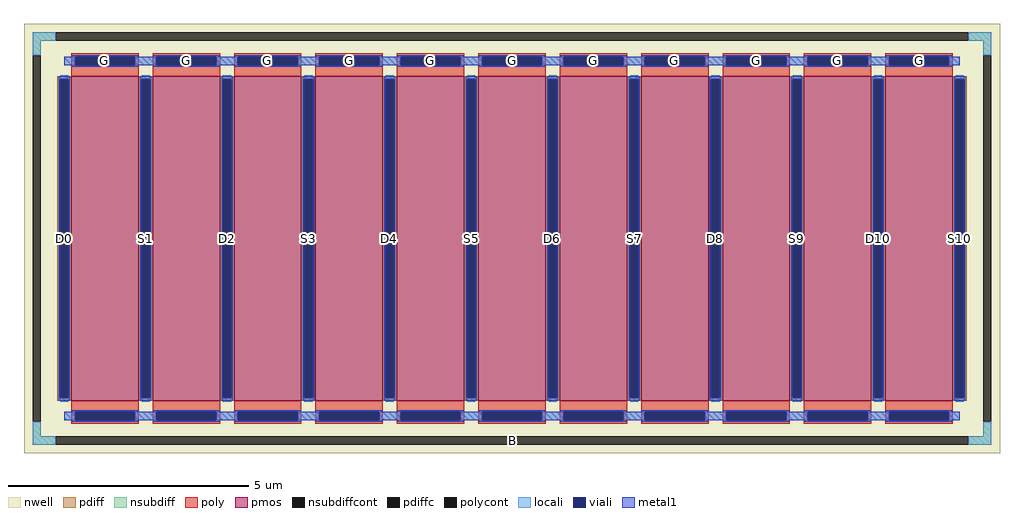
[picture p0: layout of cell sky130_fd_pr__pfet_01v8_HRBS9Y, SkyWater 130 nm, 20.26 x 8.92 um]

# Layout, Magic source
magic
tech sky130A
magscale 1 2
<< nwell >>
rect -2026 -892 2026 892
<< pmos >>
rect -1830 -673 -1550 673
rect -1492 -673 -1212 673
rect -1154 -673 -874 673
rect -816 -673 -536 673
rect -478 -673 -198 673
rect -140 -673 140 673
rect 198 -673 478 673
rect 536 -673 816 673
rect 874 -673 1154 673
rect 1212 -673 1492 673
rect 1550 -673 1830 673
<< pdiff >>
rect -1888 661 -1830 673
rect -1888 -661 -1876 661
rect -1842 -661 -1830 661
rect -1888 -673 -1830 -661
rect -1550 661 -1492 673
rect -1550 -661 -1538 661
rect -1504 -661 -1492 661
rect -1550 -673 -1492 -661
rect -1212 661 -1154 673
rect -1212 -661 -1200 661
rect -1166 -661 -1154 661
rect -1212 -673 -1154 -661
rect -874 661 -816 673
rect -874 -661 -862 661
rect -828 -661 -816 661
rect -874 -673 -816 -661
rect -536 661 -478 673
rect -536 -661 -524 661
rect -490 -661 -478 661
rect -536 -673 -478 -661
rect -198 661 -140 673
rect -198 -661 -186 661
rect -152 -661 -140 661
rect -198 -673 -140 -661
rect 140 661 198 673
rect 140 -661 152 661
rect 186 -661 198 661
rect 140 -673 198 -661
rect 478 661 536 673
rect 478 -661 490 661
rect 524 -661 536 661
rect 478 -673 536 -661
rect 816 661 874 673
rect 816 -661 828 661
rect 862 -661 874 661
rect 816 -673 874 -661
rect 1154 661 1212 673
rect 1154 -661 1166 661
rect 1200 -661 1212 661
rect 1154 -673 1212 -661
rect 1492 661 1550 673
rect 1492 -661 1504 661
rect 1538 -661 1550 661
rect 1492 -673 1550 -661
rect 1830 661 1888 673
rect 1830 -661 1842 661
rect 1876 -661 1888 661
rect 1830 -673 1888 -661
<< pdiffc >>
rect -1876 -661 -1842 661
rect -1538 -661 -1504 661
rect -1200 -661 -1166 661
rect -862 -661 -828 661
rect -524 -661 -490 661
rect -186 -661 -152 661
rect 152 -661 186 661
rect 490 -661 524 661
rect 828 -661 862 661
rect 1166 -661 1200 661
rect 1504 -661 1538 661
rect 1842 -661 1876 661
<< nsubdiff >>
rect -1990 822 -1894 856
rect 1894 822 1990 856
rect -1990 760 -1956 822
rect 1956 760 1990 822
rect -1990 -822 -1956 -760
rect 1956 -822 1990 -760
rect -1990 -856 -1894 -822
rect 1894 -856 1990 -822
<< nsubdiffcont >>
rect -1894 822 1894 856
rect -1990 -760 -1956 760
rect 1956 -760 1990 760
rect -1894 -856 1894 -822
<< poly >>
rect -1830 754 -1550 770
rect -1830 720 -1814 754
rect -1566 720 -1550 754
rect -1830 673 -1550 720
rect -1492 754 -1212 770
rect -1492 720 -1476 754
rect -1228 720 -1212 754
rect -1492 673 -1212 720
rect -1154 754 -874 770
rect -1154 720 -1138 754
rect -890 720 -874 754
rect -1154 673 -874 720
rect -816 754 -536 770
rect -816 720 -800 754
rect -552 720 -536 754
rect -816 673 -536 720
rect -478 754 -198 770
rect -478 720 -462 754
rect -214 720 -198 754
rect -478 673 -198 720
rect -140 754 140 770
rect -140 720 -124 754
rect 124 720 140 754
rect -140 673 140 720
rect 198 754 478 770
rect 198 720 214 754
rect 462 720 478 754
rect 198 673 478 720
rect 536 754 816 770
rect 536 720 552 754
rect 800 720 816 754
rect 536 673 816 720
rect 874 754 1154 770
rect 874 720 890 754
rect 1138 720 1154 754
rect 874 673 1154 720
rect 1212 754 1492 770
rect 1212 720 1228 754
rect 1476 720 1492 754
rect 1212 673 1492 720
rect 1550 754 1830 770
rect 1550 720 1566 754
rect 1814 720 1830 754
rect 1550 673 1830 720
rect -1830 -720 -1550 -673
rect -1830 -754 -1814 -720
rect -1566 -754 -1550 -720
rect -1830 -770 -1550 -754
rect -1492 -720 -1212 -673
rect -1492 -754 -1476 -720
rect -1228 -754 -1212 -720
rect -1492 -770 -1212 -754
rect -1154 -720 -874 -673
rect -1154 -754 -1138 -720
rect -890 -754 -874 -720
rect -1154 -770 -874 -754
rect -816 -720 -536 -673
rect -816 -754 -800 -720
rect -552 -754 -536 -720
rect -816 -770 -536 -754
rect -478 -720 -198 -673
rect -478 -754 -462 -720
rect -214 -754 -198 -720
rect -478 -770 -198 -754
rect -140 -720 140 -673
rect -140 -754 -124 -720
rect 124 -754 140 -720
rect -140 -770 140 -754
rect 198 -720 478 -673
rect 198 -754 214 -720
rect 462 -754 478 -720
rect 198 -770 478 -754
rect 536 -720 816 -673
rect 536 -754 552 -720
rect 800 -754 816 -720
rect 536 -770 816 -754
rect 874 -720 1154 -673
rect 874 -754 890 -720
rect 1138 -754 1154 -720
rect 874 -770 1154 -754
rect 1212 -720 1492 -673
rect 1212 -754 1228 -720
rect 1476 -754 1492 -720
rect 1212 -770 1492 -754
rect 1550 -720 1830 -673
rect 1550 -754 1566 -720
rect 1814 -754 1830 -720
rect 1550 -770 1830 -754
<< polycont >>
rect -1814 720 -1566 754
rect -1476 720 -1228 754
rect -1138 720 -890 754
rect -800 720 -552 754
rect -462 720 -214 754
rect -124 720 124 754
rect 214 720 462 754
rect 552 720 800 754
rect 890 720 1138 754
rect 1228 720 1476 754
rect 1566 720 1814 754
rect -1814 -754 -1566 -720
rect -1476 -754 -1228 -720
rect -1138 -754 -890 -720
rect -800 -754 -552 -720
rect -462 -754 -214 -720
rect -124 -754 124 -720
rect 214 -754 462 -720
rect 552 -754 800 -720
rect 890 -754 1138 -720
rect 1228 -754 1476 -720
rect 1566 -754 1814 -720
<< locali >>
rect -1990 822 -1894 856
rect 1894 822 1990 856
rect -1990 760 -1956 822
rect 1956 760 1990 822
rect -1859 720 -1814 754
rect -1566 720 -1476 754
rect -1228 720 -1138 754
rect -890 720 -800 754
rect -552 720 -462 754
rect -214 720 -124 754
rect 124 720 214 754
rect 462 720 552 754
rect 800 720 890 754
rect 1138 720 1228 754
rect 1476 720 1566 754
rect 1814 720 1859 754
rect -1876 661 -1842 677
rect -1876 -677 -1842 -661
rect -1538 661 -1504 677
rect -1538 -677 -1504 -661
rect -1200 661 -1166 677
rect -1200 -677 -1166 -661
rect -862 661 -828 677
rect -862 -677 -828 -661
rect -524 661 -490 677
rect -524 -677 -490 -661
rect -186 661 -152 677
rect -186 -677 -152 -661
rect 152 661 186 677
rect 152 -677 186 -661
rect 490 661 524 677
rect 490 -677 524 -661
rect 828 661 862 677
rect 828 -677 862 -661
rect 1166 661 1200 677
rect 1166 -677 1200 -661
rect 1504 661 1538 677
rect 1504 -677 1538 -661
rect 1842 661 1876 677
rect 1842 -677 1876 -661
rect -1859 -754 -1814 -720
rect -1566 -754 -1476 -720
rect -1228 -754 -1138 -720
rect -890 -754 -800 -720
rect -552 -754 -462 -720
rect -214 -754 -124 -720
rect 124 -754 214 -720
rect 462 -754 552 -720
rect 800 -754 890 -720
rect 1138 -754 1228 -720
rect 1476 -754 1566 -720
rect 1814 -754 1859 -720
rect -1990 -822 -1956 -760
rect 1956 -822 1990 -760
rect -1990 -856 -1894 -822
rect 1894 -856 1990 -822
<< viali >>
rect -1814 720 -1566 754
rect -1476 720 -1228 754
rect -1138 720 -890 754
rect -800 720 -552 754
rect -462 720 -214 754
rect -124 720 124 754
rect 214 720 462 754
rect 552 720 800 754
rect 890 720 1138 754
rect 1228 720 1476 754
rect 1566 720 1814 754
rect -1876 -661 -1842 661
rect -1538 -661 -1504 661
rect -1200 -661 -1166 661
rect -862 -661 -828 661
rect -524 -661 -490 661
rect -186 -661 -152 661
rect 152 -661 186 661
rect 490 -661 524 661
rect 828 -661 862 661
rect 1166 -661 1200 661
rect 1504 -661 1538 661
rect 1842 -661 1876 661
rect -1814 -754 -1566 -720
rect -1476 -754 -1228 -720
rect -1138 -754 -890 -720
rect -800 -754 -552 -720
rect -462 -754 -214 -720
rect -124 -754 124 -720
rect 214 -754 462 -720
rect 552 -754 800 -720
rect 890 -754 1138 -720
rect 1228 -754 1476 -720
rect 1566 -754 1814 -720
<< metal1 >>
rect -1826 754 -1554 760
rect -1488 754 -1216 760
rect -1150 754 -878 760
rect -812 754 -540 760
rect -474 754 -202 760
rect -136 754 136 760
rect 202 754 474 760
rect 540 754 812 760
rect 878 754 1150 760
rect 1216 754 1488 760
rect 1554 754 1826 760
rect -1859 720 -1814 754
rect -1566 720 -1476 754
rect -1228 720 -1138 754
rect -890 720 -800 754
rect -552 720 -462 754
rect -214 720 -124 754
rect 124 720 214 754
rect 462 720 552 754
rect 800 720 890 754
rect 1138 720 1228 754
rect 1476 720 1566 754
rect 1814 720 1859 754
rect -1826 714 -1554 720
rect -1488 714 -1216 720
rect -1150 714 -878 720
rect -812 714 -540 720
rect -474 714 -202 720
rect -136 714 136 720
rect 202 714 474 720
rect 540 714 812 720
rect 878 714 1150 720
rect 1216 714 1488 720
rect 1554 714 1826 720
rect -1882 661 -1836 673
rect -1882 -661 -1876 661
rect -1842 -661 -1836 661
rect -1882 -673 -1836 -661
rect -1544 661 -1498 673
rect -1544 -661 -1538 661
rect -1504 -661 -1498 661
rect -1544 -673 -1498 -661
rect -1206 661 -1160 673
rect -1206 -661 -1200 661
rect -1166 -661 -1160 661
rect -1206 -673 -1160 -661
rect -868 661 -822 673
rect -868 -661 -862 661
rect -828 -661 -822 661
rect -868 -673 -822 -661
rect -530 661 -484 673
rect -530 -661 -524 661
rect -490 -661 -484 661
rect -530 -673 -484 -661
rect -192 661 -146 673
rect -192 -661 -186 661
rect -152 -661 -146 661
rect -192 -673 -146 -661
rect 146 661 192 673
rect 146 -661 152 661
rect 186 -661 192 661
rect 146 -673 192 -661
rect 484 661 530 673
rect 484 -661 490 661
rect 524 -661 530 661
rect 484 -673 530 -661
rect 822 661 868 673
rect 822 -661 828 661
rect 862 -661 868 661
rect 822 -673 868 -661
rect 1160 661 1206 673
rect 1160 -661 1166 661
rect 1200 -661 1206 661
rect 1160 -673 1206 -661
rect 1498 661 1544 673
rect 1498 -661 1504 661
rect 1538 -661 1544 661
rect 1498 -673 1544 -661
rect 1836 661 1882 673
rect 1836 -661 1842 661
rect 1876 -661 1882 661
rect 1836 -673 1882 -661
rect -1826 -720 -1554 -714
rect -1488 -720 -1216 -714
rect -1150 -720 -878 -714
rect -812 -720 -540 -714
rect -474 -720 -202 -714
rect -136 -720 136 -714
rect 202 -720 474 -714
rect 540 -720 812 -714
rect 878 -720 1150 -714
rect 1216 -720 1488 -714
rect 1554 -720 1826 -714
rect -1859 -754 -1814 -720
rect -1566 -754 -1476 -720
rect -1228 -754 -1138 -720
rect -890 -754 -800 -720
rect -552 -754 -462 -720
rect -214 -754 -124 -720
rect 124 -754 214 -720
rect 462 -754 552 -720
rect 800 -754 890 -720
rect 1138 -754 1228 -720
rect 1476 -754 1566 -720
rect 1814 -754 1859 -720
rect -1826 -760 -1554 -754
rect -1488 -760 -1216 -754
rect -1150 -760 -878 -754
rect -812 -760 -540 -754
rect -474 -760 -202 -754
rect -136 -760 136 -754
rect 202 -760 474 -754
rect 540 -760 812 -754
rect 878 -760 1150 -754
rect 1216 -760 1488 -754
rect 1554 -760 1826 -754
<< labels >>
rlabel nsubdiffcont 0 -839 0 -839 0 B
port 1 nsew
rlabel pdiffc -1859 0 -1859 0 0 D0
port 2 nsew
rlabel polycont -1690 737 -1690 737 0 G
port 3 nsew
rlabel pdiffc -1521 0 -1521 0 0 S1
port 4 nsew
rlabel polycont -1352 737 -1352 737 0 G
port 3 nsew
rlabel pdiffc -1183 0 -1183 0 0 D2
port 5 nsew
rlabel polycont -1014 737 -1014 737 0 G
port 3 nsew
rlabel pdiffc -845 0 -845 0 0 S3
port 6 nsew
rlabel polycont -676 737 -676 737 0 G
port 3 nsew
rlabel pdiffc -507 0 -507 0 0 D4
port 7 nsew
rlabel polycont -338 737 -338 737 0 G
port 3 nsew
rlabel pdiffc -169 0 -169 0 0 S5
port 8 nsew
rlabel polycont 0 737 0 737 0 G
port 3 nsew
rlabel pdiffc 169 0 169 0 0 D6
port 9 nsew
rlabel polycont 338 737 338 737 0 G
port 3 nsew
rlabel pdiffc 507 0 507 0 0 S7
port 10 nsew
rlabel polycont 676 737 676 737 0 G
port 3 nsew
rlabel pdiffc 845 0 845 0 0 D8
port 11 nsew
rlabel polycont 1014 737 1014 737 0 G
port 3 nsew
rlabel pdiffc 1183 0 1183 0 0 S9
port 12 nsew
rlabel polycont 1352 737 1352 737 0 G
port 3 nsew
rlabel pdiffc 1521 0 1521 0 0 D10
port 13 nsew
rlabel pdiffc 1859 0 1859 0 0 S10
port 14 nsew
rlabel polycont 1690 737 1690 737 0 G
port 3 nsew
<< properties >>
string FIXED_BBOX -1973 -839 1973 839
string gencell sky130_fd_pr__pfet_01v8
string library sky130
string parameters w 6.73 l 1.4 m 1 nf 11 diffcov 100 polycov 100 guard 1 glc 1 grc 1 gtc 1 gbc 1 tbcov 100 rlcov 100 topc 1 botc 1 poverlap 0 doverlap 1 lmin 0.15 wmin 0.42 class mosfet compatible {sky130_fd_pr__pfet_01v8  sky130_fd_pr__pfet_01v8_lvt sky130_fd_pr__pfet_01v8_hvt  sky130_fd_pr__pfet_g5v0d10v5} full_metal 1 conn_gates 1 viasrc 100 viadrn 100 viagate 100 viagb 0 viagr 0 viagl 0 viagt 0 doports 1
<< end >>
